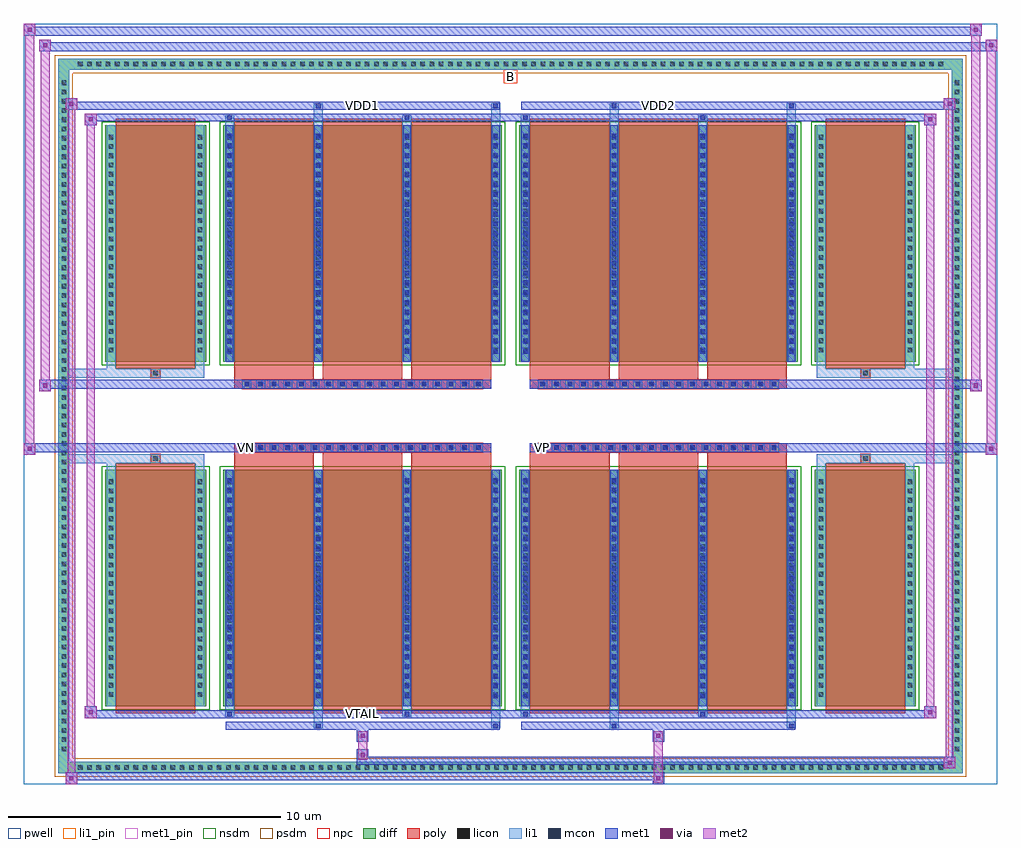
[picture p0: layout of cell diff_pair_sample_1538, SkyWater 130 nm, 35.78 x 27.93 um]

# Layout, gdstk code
import gdstk
lib = gdstk.Library(unit=1e-6, precision=5e-09)
def R(c, l, rs):  # rectangles x0, y0, x1, y1
    for r in rs: c.add(gdstk.rectangle(r[:2], r[2:], *l))
def A(c, l, x, y, w, h, nx, ny, dx, dy):  # array of equal rectangles
    R(c, l, [(x+i*dx, y+j*dy, x+i*dx+w, y+j*dy+h) for i in range(nx) for j in range(ny)])
def P(c, l, *ps):  # polygons
    for p in ps: c.add(gdstk.Polygon(p, *l))
pwell = (64, 44)
diff = (65, 20)
poly = (66, 20)
licon = (66, 44)
li1_pin = (67, 16)
li1 = (67, 20)
mcon = (67, 44)
met1_pin = (68, 16)
met1 = (68, 20)
via = (68, 44)
met2 = (69, 20)
nsdm = (93, 44)
psdm = (94, 20)
npc = (95, 20)

diff_pair_sample_1538 = lib.new_cell('diff_pair_sample_1538')
R(diff_pair_sample_1538, pwell, [(-17.89,-13.53,17.89,14.4), (-15.21,-11.72,-0.01,-0.8), (0.01,-11.72,15.21,-0.8), (-15.21,0.8,-0.01,11.72), (0.01,0.8,15.21,11.72)])
A(diff_pair_sample_1538, diff, -16.015, -13.13, 0.41, 0.41, 94, 2, 0.34, 25.85)
A(diff_pair_sample_1538, diff, -16.62, -12.445, 0.41, 0.41, 1, 73, 0, 0.34)
A(diff_pair_sample_1538, diff, 16.21, -12.445, 0.41, 0.41, 1, 73, 0, 0.34)
R(diff_pair_sample_1538, diff, [(-16.015,-13.13,16.015,-12.72), (-16.62,-12.445,-16.21,12.445), (16.21,-12.445,16.62,12.445), (-14.9,-10.675,-11.19,-1.985), (-10.55,-10.675,-0.32,-1.985), (0.32,-10.675,10.55,-1.985), (11.19,-10.675,14.9,-1.985), (-14.9,1.985,-11.19,10.675), (-10.55,1.985,-0.32,10.675), (0.32,1.985,10.55,10.675), (11.19,1.985,14.9,10.675), (-16.015,12.72,16.015,13.13)])
P(diff_pair_sample_1538, diff, [(16.62,13.13),(-16.62,13.13),(-16.62,-12.72),(-16.21,-12.72),(-16.21,12.72),(16.21,12.72),(16.21,-12.72),(-16.21,-12.72),(-16.62,-12.72),(-16.62,-13.13),(16.62,-13.13)])
A(diff_pair_sample_1538, poly, -10.16, -10.925, 2.93, 9.19, 3, 2, 3.26, 12.66)
A(diff_pair_sample_1538, poly, 0.71, -10.925, 2.93, 9.19, 3, 2, 3.26, 12.66)
A(diff_pair_sample_1538, poly, -10.16, -1.735, 2.93, 0.405, 3, 2, 3.26, 3.065)
A(diff_pair_sample_1538, poly, 0.71, -1.735, 2.93, 0.405, 3, 2, 3.26, 3.065)
A(diff_pair_sample_1538, poly, -9.85, -1.33, 0.33, 0.33, 18, 2, 0.5, 2.33)
A(diff_pair_sample_1538, poly, 1.02, -1.33, 0.33, 0.33, 18, 2, 0.5, 2.33)
R(diff_pair_sample_1538, poly, [(-14.51,-10.925,-11.58,-1.735), (11.58,-10.925,14.51,-1.735), (-13.21,-1.735,-12.88,-1.405), (-13.21,-1.735,-12.88,-1.405), (12.88,-1.735,13.21,-1.405), (12.88,-1.735,13.21,-1.405), (-10.16,-1.33,-0.71,-1), (0.71,-1.33,10.16,-1), (-10.16,1,-0.71,1.33), (0.71,1,10.16,1.33), (-13.21,1.405,-12.88,1.735), (-13.21,1.405,-12.88,1.735), (12.88,1.405,13.21,1.735), (12.88,1.405,13.21,1.735), (-14.51,1.735,-11.58,10.925), (11.58,1.735,14.51,10.925)])
A(diff_pair_sample_1538, licon, -15.895, -13.01, 0.17, 0.17, 94, 2, 0.34, 25.85)
A(diff_pair_sample_1538, licon, -16.5, -12.325, 0.17, 0.17, 1, 73, 0, 0.34)
A(diff_pair_sample_1538, licon, 16.33, -12.325, 0.17, 0.17, 1, 73, 0, 0.34)
A(diff_pair_sample_1538, licon, -14.76, -10.325, 0.17, 0.17, 1, 24, 0, 0.34)
A(diff_pair_sample_1538, licon, -11.5, -10.325, 0.17, 0.17, 1, 24, 0, 0.34)
A(diff_pair_sample_1538, licon, -10.41, -10.325, 0.17, 0.17, 4, 24, 3.26, 0.34)
A(diff_pair_sample_1538, licon, 0.46, -10.325, 0.17, 0.17, 4, 24, 3.26, 0.34)
A(diff_pair_sample_1538, licon, 11.33, -10.325, 0.17, 0.17, 1, 24, 0, 0.34)
A(diff_pair_sample_1538, licon, 14.59, -10.325, 0.17, 0.17, 1, 24, 0, 0.34)
A(diff_pair_sample_1538, licon, -9.77, -1.25, 0.17, 0.17, 18, 2, 0.5, 2.33)
A(diff_pair_sample_1538, licon, 1.1, -1.25, 0.17, 0.17, 18, 2, 0.5, 2.33)
A(diff_pair_sample_1538, licon, -14.76, 2.335, 0.17, 0.17, 1, 24, 0, 0.34)
A(diff_pair_sample_1538, licon, -11.5, 2.335, 0.17, 0.17, 1, 24, 0, 0.34)
A(diff_pair_sample_1538, licon, -10.41, 2.335, 0.17, 0.17, 4, 24, 3.26, 0.34)
A(diff_pair_sample_1538, licon, 0.46, 2.335, 0.17, 0.17, 4, 24, 3.26, 0.34)
A(diff_pair_sample_1538, licon, 11.33, 2.335, 0.17, 0.17, 1, 24, 0, 0.34)
A(diff_pair_sample_1538, licon, 14.59, 2.335, 0.17, 0.17, 1, 24, 0, 0.34)
R(diff_pair_sample_1538, licon, [(-13.13,-1.655,-12.96,-1.485), (12.96,-1.655,13.13,-1.485), (-13.13,1.485,-12.96,1.655), (12.96,1.485,13.13,1.655)])
R(diff_pair_sample_1538, li1_pin, [(-0.25,12.22,0.25,12.72)])
A(diff_pair_sample_1538, li1, -15.975, -13.09, 0.33, 0.33, 94, 2, 0.34, 25.85)
A(diff_pair_sample_1538, li1, -16.58, -12.405, 0.33, 0.33, 1, 73, 0, 0.34)
A(diff_pair_sample_1538, li1, 16.25, -12.405, 0.33, 0.33, 1, 73, 0, 0.34)
A(diff_pair_sample_1538, li1, -10.49, -10.675, 0.33, 8.69, 4, 2, 3.26, 12.66)
A(diff_pair_sample_1538, li1, 0.38, -10.675, 0.33, 8.69, 4, 2, 3.26, 12.66)
A(diff_pair_sample_1538, li1, -14.84, -10.405, 0.33, 0.33, 1, 24, 0, 0.34)
A(diff_pair_sample_1538, li1, -11.58, -10.405, 0.33, 0.33, 1, 24, 0, 0.34)
A(diff_pair_sample_1538, li1, -10.49, -10.405, 0.33, 0.33, 4, 24, 3.26, 0.34)
A(diff_pair_sample_1538, li1, 0.38, -10.405, 0.33, 0.33, 4, 24, 3.26, 0.34)
A(diff_pair_sample_1538, li1, 11.25, -10.405, 0.33, 0.33, 1, 24, 0, 0.34)
A(diff_pair_sample_1538, li1, 14.51, -10.405, 0.33, 0.33, 1, 24, 0, 0.34)
A(diff_pair_sample_1538, li1, -10.41, -10.375, 0.17, 0.17, 4, 23, 3.26, 0.36)
A(diff_pair_sample_1538, li1, -10.41, -10.375, 0.17, 8.09, 4, 2, 3.26, 12.66)
A(diff_pair_sample_1538, li1, 0.46, -10.375, 0.17, 0.17, 4, 23, 3.26, 0.36)
A(diff_pair_sample_1538, li1, 0.46, -10.375, 0.17, 8.09, 4, 2, 3.26, 12.66)
A(diff_pair_sample_1538, li1, -9.85, -1.33, 0.33, 0.33, 18, 2, 0.5, 2.33)
A(diff_pair_sample_1538, li1, 1.02, -1.33, 0.33, 0.33, 18, 2, 0.5, 2.33)
A(diff_pair_sample_1538, li1, -14.84, 2.255, 0.33, 0.33, 1, 24, 0, 0.34)
A(diff_pair_sample_1538, li1, -11.58, 2.255, 0.33, 0.33, 1, 24, 0, 0.34)
A(diff_pair_sample_1538, li1, -10.49, 2.255, 0.33, 0.33, 4, 24, 3.26, 0.34)
A(diff_pair_sample_1538, li1, 0.38, 2.255, 0.33, 0.33, 4, 24, 3.26, 0.34)
A(diff_pair_sample_1538, li1, 11.25, 2.255, 0.33, 0.33, 1, 24, 0, 0.34)
A(diff_pair_sample_1538, li1, 14.51, 2.255, 0.33, 0.33, 1, 24, 0, 0.34)
A(diff_pair_sample_1538, li1, -10.41, 2.285, 0.17, 0.17, 4, 23, 3.26, 0.36)
A(diff_pair_sample_1538, li1, 0.46, 2.285, 0.17, 0.17, 4, 23, 3.26, 0.36)
R(diff_pair_sample_1538, li1, [(-16.62,-13.13,-16.21,-12.72), (-16.62,-13.13,-16.21,-12.72), (-16.21,-13.13,16.21,-12.72), (16.21,-13.13,16.62,-12.72), (16.21,-13.13,16.62,-12.72), (-16.62,-12.72,-16.21,12.72), (16.21,-12.72,16.62,12.72), (-7.23,-11.48,-6.9,-10.675), (-7.15,-11.48,-6.98,-11.31), (-0.71,-11.48,-0.38,-10.675), (-0.63,-11.48,-0.46,-11.31), (3.64,-11.48,3.97,-10.675), (3.72,-11.48,3.89,-11.31), (10.16,-11.48,10.49,-10.675), (10.24,-11.48,10.41,-11.31), (-10.49,-11.05,-10.16,-10.675), (-10.41,-11.05,-10.24,-10.88), (-3.97,-11.05,-3.64,-10.675), (-3.89,-11.05,-3.72,-10.88), (0.38,-11.05,0.71,-10.675), (0.46,-11.05,0.63,-10.88), (6.9,-11.05,7.23,-10.675), (6.98,-11.05,7.15,-10.88), (-14.84,-10.675,-14.51,-1.985), (-11.58,-10.675,-11.25,-1.985), (11.25,-10.675,11.58,-1.985), (14.51,-10.675,14.84,-1.985), (-14.84,-1.985,-14.51,-1.405), (-11.58,-1.985,-11.25,-1.405), (11.25,-1.985,11.58,-1.405), (14.51,-1.985,14.84,-1.405), (-16.62,-1.735,-13.21,-1.405), (-14.84,-1.735,-13.21,-1.405), (-13.21,-1.735,-12.88,-1.405), (-12.88,-1.735,-11.25,-1.405), (11.25,-1.735,12.88,-1.405), (12.88,-1.735,13.21,-1.405), (12.88,-1.735,16.62,-1.405), (13.21,-1.735,14.84,-1.405), (-16.62,1.405,-13.21,1.735), (-14.84,1.405,-13.21,1.735), (-14.84,1.405,-14.51,1.985), (-13.21,1.405,-12.88,1.735), (-12.88,1.405,-11.25,1.735), (-11.58,1.405,-11.25,1.985), (11.25,1.405,12.88,1.735), (11.25,1.405,11.58,1.985), (12.88,1.405,13.21,1.735), (12.88,1.405,16.62,1.735), (13.21,1.405,14.84,1.735), (14.51,1.405,14.84,1.985), (-14.84,1.985,-14.51,10.675), (-11.58,1.985,-11.25,10.675), (11.25,1.985,11.58,10.675), (14.51,1.985,14.84,10.675), (-10.49,10.675,-10.16,11.05), (-7.23,10.675,-6.9,11.48), (-3.97,10.675,-3.64,11.05), (-0.71,10.675,-0.38,11.48), (0.38,10.675,0.71,11.05), (3.64,10.675,3.97,11.48), (6.9,10.675,7.23,11.05), (10.16,10.675,10.49,11.48), (-10.41,10.88,-10.24,11.05), (-3.89,10.88,-3.72,11.05), (0.46,10.88,0.63,11.05), (6.98,10.88,7.15,11.05), (-7.15,11.31,-6.98,11.48), (-0.63,11.31,-0.46,11.48), (3.72,11.31,3.89,11.48), (10.24,11.31,10.41,11.48), (-16.62,12.72,-16.21,13.13), (-16.62,12.72,-16.21,13.13), (-16.21,12.72,16.21,13.13), (16.21,12.72,16.62,13.13), (16.21,12.72,16.62,13.13)])
A(diff_pair_sample_1538, mcon, -10.41, -10.375, 0.17, 0.17, 4, 23, 3.26, 0.36)
A(diff_pair_sample_1538, mcon, 0.46, -10.375, 0.17, 0.17, 4, 23, 3.26, 0.36)
A(diff_pair_sample_1538, mcon, -9.77, -1.25, 0.17, 0.17, 18, 2, 0.5, 2.33)
A(diff_pair_sample_1538, mcon, 1.1, -1.25, 0.17, 0.17, 18, 2, 0.5, 2.33)
A(diff_pair_sample_1538, mcon, -10.41, 2.285, 0.17, 0.17, 4, 23, 3.26, 0.36)
A(diff_pair_sample_1538, mcon, 0.46, 2.285, 0.17, 0.17, 4, 23, 3.26, 0.36)
R(diff_pair_sample_1538, mcon, [(-7.15,-11.48,-6.98,-11.31), (-0.63,-11.48,-0.46,-11.31), (3.72,-11.48,3.89,-11.31), (10.24,-11.48,10.41,-11.31), (-10.41,-11.05,-10.24,-10.88), (-3.89,-11.05,-3.72,-10.88), (0.46,-11.05,0.63,-10.88), (6.98,-11.05,7.15,-10.88), (-10.41,10.88,-10.24,11.05), (-3.89,10.88,-3.72,11.05), (0.46,10.88,0.63,11.05), (6.98,10.88,7.15,11.05), (-7.15,11.31,-6.98,11.48), (-0.63,11.31,-0.46,11.48), (3.72,11.31,3.89,11.48), (10.24,11.31,10.41,11.48)])
R(diff_pair_sample_1538, met1_pin, [(-5.57,-11.09,-5.3,-10.82), (-9.82,-1.29,-9.55,-1.02), (1.05,-1.29,1.32,-1.02), (-5.57,11.27,-5.3,11.54), (5.3,11.27,5.57,11.54)])
A(diff_pair_sample_1538, met1, -10.47, -10.675, 0.29, 8.69, 4, 2, 3.26, 12.66)
A(diff_pair_sample_1538, met1, 0.4, -10.675, 0.29, 8.69, 4, 2, 3.26, 12.66)
A(diff_pair_sample_1538, met1, -10.47, -10.435, 0.29, 0.29, 4, 23, 3.26, 0.36)
A(diff_pair_sample_1538, met1, 0.4, -10.435, 0.29, 0.29, 4, 23, 3.26, 0.36)
A(diff_pair_sample_1538, met1, -9.83, -1.31, 0.29, 0.29, 18, 2, 0.5, 2.33)
A(diff_pair_sample_1538, met1, 1.04, -1.31, 0.29, 0.29, 18, 2, 0.5, 2.33)
A(diff_pair_sample_1538, met1, -10.47, 2.225, 0.29, 0.29, 4, 23, 3.26, 0.36)
A(diff_pair_sample_1538, met1, 0.4, 2.225, 0.29, 0.29, 4, 23, 3.26, 0.36)
R(diff_pair_sample_1538, met1, [(-16.35,-13.53,-15.92,-13.1), (5.22,-13.53,5.65,-13.1), (-16.35,-13.39,5.65,-13.1), (15.92,-12.96,16.35,-12.53), (-5.65,-12.82,16.35,-12.53), (-5.65,-12.68,-5.22,-12.25), (-5.65,-11.97,-5.22,-11.54), (5.22,-11.97,5.65,-11.54), (-10.47,-11.54,-0.4,-11.25), (-7.21,-11.54,-6.92,-11.25), (-0.69,-11.54,-0.4,-11.25), (0.4,-11.54,10.47,-11.25), (3.66,-11.54,3.95,-11.25), (10.18,-11.54,10.47,-11.25), (-15.64,-11.11,-15.21,-10.68), (-15.64,-11.11,-10.47,-10.82), (-10.47,-11.11,-10.18,-10.82), (-10.47,-11.11,-0.4,-10.82), (-3.95,-11.11,-3.66,-10.82), (-0.4,-11.11,0.4,-10.82), (0.4,-11.11,0.69,-10.82), (0.4,-11.11,10.47,-10.82), (6.92,-11.11,7.21,-10.82), (10.47,-11.11,15.64,-10.82), (15.21,-11.11,15.64,-10.68), (-17.89,-1.43,-17.46,-1), (17.46,-1.43,17.89,-1), (-17.89,-1.33,-0.71,-1), (-10.16,-1.33,-0.71,-1), (0.71,-1.33,10.16,-1), (0.71,-1.33,17.89,-1), (-17.32,0.9,-16.89,1.33), (16.89,0.9,17.32,1.33), (-17.32,1,-10.16,1.33), (-10.16,1,-0.71,1.33), (0.71,1,10.16,1.33), (10.16,1,17.32,1.33), (-15.64,10.68,-15.21,11.11), (15.21,10.68,15.64,11.11), (-15.64,10.82,-10.47,11.11), (-10.47,10.82,-10.18,11.11), (-10.47,10.82,-0.4,11.11), (-3.95,10.82,-3.66,11.11), (-0.4,10.82,0.4,11.11), (0.4,10.82,0.69,11.11), (0.4,10.82,10.47,11.11), (6.92,10.82,7.21,11.11), (10.47,10.82,15.64,11.11), (-16.35,11.25,-15.92,11.68), (-16.35,11.25,-10.47,11.54), (-10.47,11.25,-0.4,11.54), (-7.21,11.25,-6.92,11.54), (-0.69,11.25,-0.4,11.54), (0.4,11.25,10.47,11.54), (3.66,11.25,3.95,11.54), (10.18,11.25,10.47,11.54), (10.47,11.25,16.35,11.54), (15.92,11.25,16.35,11.68), (-17.32,13.4,-16.89,13.83), (-17.32,13.4,-15.21,13.73), (-15.21,13.4,15.21,13.73), (15.21,13.4,17.89,13.73), (17.46,13.4,17.89,13.83), (-17.89,13.97,-17.46,14.4), (-17.89,13.97,-15.21,14.3), (-15.21,13.97,15.21,14.3), (15.21,13.97,17.32,14.3), (16.89,13.97,17.32,14.4)])
R(diff_pair_sample_1538, via, [(-16.21,-13.39,-16.06,-13.24), (5.36,-13.39,5.51,-13.24), (16.06,-12.82,16.21,-12.67), (-5.51,-12.54,-5.36,-12.39), (-5.51,-11.83,-5.36,-11.68), (5.36,-11.83,5.51,-11.68), (-15.5,-10.97,-15.35,-10.82), (15.35,-10.97,15.5,-10.82), (-17.75,-1.29,-17.6,-1.14), (17.6,-1.29,17.75,-1.14), (-17.18,1.04,-17.03,1.19), (17.03,1.04,17.18,1.19), (-15.5,10.82,-15.35,10.97), (15.35,10.82,15.5,10.97), (-16.21,11.39,-16.06,11.54), (16.06,11.39,16.21,11.54), (-17.18,13.54,-17.03,13.69), (17.6,13.54,17.75,13.69), (-17.75,14.11,-17.6,14.26), (17.03,14.11,17.18,14.26)])
R(diff_pair_sample_1538, met2, [(-16.35,-13.53,-15.92,-13.1), (-16.28,-13.53,-15.99,11.68), (-15.99,-13.53,-15.92,-13.1), (-16.3,-13.48,-15.97,-13.15), (5.27,-13.48,5.6,-13.15), (5.27,-13.15,5.6,-11.92), (15.92,-12.96,16.35,-12.53), (15.99,-12.96,16.28,11.68), (16.28,-12.96,16.35,-12.53), (15.97,-12.91,16.3,-12.58), (-5.6,-12.63,-5.27,-12.3), (-5.6,-12.3,-5.27,-11.92), (-5.6,-11.92,-5.27,-11.59), (5.27,-11.92,5.6,-11.59), (-15.64,-11.11,-15.21,-10.68), (-15.57,-11.11,-15.28,11.11), (-15.28,-11.11,-15.21,-10.68), (15.21,-11.11,15.64,-10.68), (15.28,-11.11,15.57,11.11), (15.57,-11.11,15.64,-10.68), (-15.59,-11.06,-15.26,-10.73), (15.26,-11.06,15.59,-10.73), (-17.89,-1.43,-17.46,-1), (-17.84,-1.43,-17.51,14.4), (-17.51,-1.43,-17.46,-1), (17.46,-1.43,17.89,-1), (17.51,-1.43,17.84,13.83), (17.84,-1.43,17.89,-1), (-17.84,-1.38,-17.51,-1.05), (17.51,-1.38,17.84,-1.05), (-17.32,0.9,-16.89,1.33), (-17.27,0.9,-16.94,13.83), (-16.94,0.9,-16.89,1.33), (16.89,0.9,17.32,1.33), (16.94,0.9,17.27,14.4), (17.27,0.9,17.32,1.33), (-17.27,0.95,-16.94,1.28), (16.94,0.95,17.27,1.28), (-15.64,10.68,-15.21,11.11), (-15.28,10.68,-15.21,11.11), (15.21,10.68,15.64,11.11), (15.57,10.68,15.64,11.11), (-15.59,10.73,-15.26,11.06), (15.26,10.73,15.59,11.06), (-16.35,11.25,-15.92,11.68), (-15.99,11.25,-15.92,11.68), (15.92,11.25,16.35,11.68), (16.28,11.25,16.35,11.68), (-16.3,11.3,-15.97,11.63), (15.97,11.3,16.3,11.63), (-17.32,13.4,-16.89,13.83), (-16.94,13.4,-16.89,13.83), (17.46,13.4,17.89,13.83), (17.84,13.4,17.89,13.83), (-17.27,13.45,-16.94,13.78), (17.51,13.45,17.84,13.78), (-17.89,13.97,-17.46,14.4), (-17.51,13.97,-17.46,14.4), (16.89,13.97,17.32,14.4), (17.27,13.97,17.32,14.4), (-17.84,14.02,-17.51,14.35), (16.94,14.02,17.27,14.35)])
R(diff_pair_sample_1538, nsdm, [(-15.03,-10.805,-11.06,-1.855), (-10.68,-10.805,-0.19,-1.855), (0.19,-10.805,10.68,-1.855), (11.06,-10.805,15.03,-1.855), (-15.03,1.855,-11.06,10.805), (-10.68,1.855,-0.19,10.805), (0.19,1.855,10.68,10.805), (11.06,1.855,15.03,10.805)])
P(diff_pair_sample_1538, psdm, [(16.75,13.26),(-16.75,13.26),(-16.75,-12.59),(-16.08,-12.59),(-16.08,12.59),(16.08,12.59),(16.08,-12.59),(-16.08,-12.59),(-16.75,-12.59),(-16.75,-13.26),(16.75,-13.26)])
A(diff_pair_sample_1538, npc, -9.87, -1.35, 0.37, 0.37, 18, 2, 0.5, 2.33)
A(diff_pair_sample_1538, npc, 1, -1.35, 0.37, 0.37, 18, 2, 0.5, 2.33)
R(diff_pair_sample_1538, npc, [(-13.23,-1.755,-12.86,-1.385), (12.86,-1.755,13.23,-1.385), (-9.87,-1.35,-9,-0.98), (-9.87,-1.35,-9,-0.98), (-9.37,-1.35,-8.5,-0.98), (-9.37,-1.35,-8.5,-0.98), (-8.87,-1.35,-8,-0.98), (-8.87,-1.35,-8,-0.98), (-8.37,-1.35,-7.5,-0.98), (-8.37,-1.35,-7.5,-0.98), (-7.87,-1.35,-7,-0.98), (-7.87,-1.35,-7,-0.98), (-7.37,-1.35,-6.5,-0.98), (-7.37,-1.35,-6.5,-0.98), (-6.87,-1.35,-6,-0.98), (-6.87,-1.35,-6,-0.98), (-6.37,-1.35,-5.5,-0.98), (-6.37,-1.35,-5.5,-0.98), (-5.87,-1.35,-5,-0.98), (-5.87,-1.35,-5,-0.98), (-5.37,-1.35,-4.5,-0.98), (-5.37,-1.35,-4.5,-0.98), (-4.87,-1.35,-4,-0.98), (-4.87,-1.35,-4,-0.98), (-4.37,-1.35,-3.5,-0.98), (-4.37,-1.35,-3.5,-0.98), (-3.87,-1.35,-3,-0.98), (-3.87,-1.35,-3,-0.98), (-3.37,-1.35,-2.5,-0.98), (-3.37,-1.35,-2.5,-0.98), (-2.87,-1.35,-2,-0.98), (-2.87,-1.35,-2,-0.98), (-2.37,-1.35,-1.5,-0.98), (-2.37,-1.35,-1.5,-0.98), (-1.87,-1.35,-1,-0.98), (-1.87,-1.35,-1,-0.98), (1,-1.35,1.87,-0.98), (1,-1.35,1.87,-0.98), (1.5,-1.35,2.37,-0.98), (1.5,-1.35,2.37,-0.98), (2,-1.35,2.87,-0.98), (2,-1.35,2.87,-0.98), (2.5,-1.35,3.37,-0.98), (2.5,-1.35,3.37,-0.98), (3,-1.35,3.87,-0.98), (3,-1.35,3.87,-0.98), (3.5,-1.35,4.37,-0.98), (3.5,-1.35,4.37,-0.98), (4,-1.35,4.87,-0.98), (4,-1.35,4.87,-0.98), (4.5,-1.35,5.37,-0.98), (4.5,-1.35,5.37,-0.98), (5,-1.35,5.87,-0.98), (5,-1.35,5.87,-0.98), (5.5,-1.35,6.37,-0.98), (5.5,-1.35,6.37,-0.98), (6,-1.35,6.87,-0.98), (6,-1.35,6.87,-0.98), (6.5,-1.35,7.37,-0.98), (6.5,-1.35,7.37,-0.98), (7,-1.35,7.87,-0.98), (7,-1.35,7.87,-0.98), (7.5,-1.35,8.37,-0.98), (7.5,-1.35,8.37,-0.98), (8,-1.35,8.87,-0.98), (8,-1.35,8.87,-0.98), (8.5,-1.35,9.37,-0.98), (8.5,-1.35,9.37,-0.98), (9,-1.35,9.87,-0.98), (9,-1.35,9.87,-0.98), (-9.87,0.98,-9,1.35), (-9.87,0.98,-9,1.35), (-9.37,0.98,-8.5,1.35), (-9.37,0.98,-8.5,1.35), (-8.87,0.98,-8,1.35), (-8.87,0.98,-8,1.35), (-8.37,0.98,-7.5,1.35), (-8.37,0.98,-7.5,1.35), (-7.87,0.98,-7,1.35), (-7.87,0.98,-7,1.35), (-7.37,0.98,-6.5,1.35), (-7.37,0.98,-6.5,1.35), (-6.87,0.98,-6,1.35), (-6.87,0.98,-6,1.35), (-6.37,0.98,-5.5,1.35), (-6.37,0.98,-5.5,1.35), (-5.87,0.98,-5,1.35), (-5.87,0.98,-5,1.35), (-5.37,0.98,-4.5,1.35), (-5.37,0.98,-4.5,1.35), (-4.87,0.98,-4,1.35), (-4.87,0.98,-4,1.35), (-4.37,0.98,-3.5,1.35), (-4.37,0.98,-3.5,1.35), (-3.87,0.98,-3,1.35), (-3.87,0.98,-3,1.35), (-3.37,0.98,-2.5,1.35), (-3.37,0.98,-2.5,1.35), (-2.87,0.98,-2,1.35), (-2.87,0.98,-2,1.35), (-2.37,0.98,-1.5,1.35), (-2.37,0.98,-1.5,1.35), (-1.87,0.98,-1,1.35), (-1.87,0.98,-1,1.35), (1,0.98,1.87,1.35), (1,0.98,1.87,1.35), (1.5,0.98,2.37,1.35), (1.5,0.98,2.37,1.35), (2,0.98,2.87,1.35), (2,0.98,2.87,1.35), (2.5,0.98,3.37,1.35), (2.5,0.98,3.37,1.35), (3,0.98,3.87,1.35), (3,0.98,3.87,1.35), (3.5,0.98,4.37,1.35), (3.5,0.98,4.37,1.35), (4,0.98,4.87,1.35), (4,0.98,4.87,1.35), (4.5,0.98,5.37,1.35), (4.5,0.98,5.37,1.35), (5,0.98,5.87,1.35), (5,0.98,5.87,1.35), (5.5,0.98,6.37,1.35), (5.5,0.98,6.37,1.35), (6,0.98,6.87,1.35), (6,0.98,6.87,1.35), (6.5,0.98,7.37,1.35), (6.5,0.98,7.37,1.35), (7,0.98,7.87,1.35), (7,0.98,7.87,1.35), (7.5,0.98,8.37,1.35), (7.5,0.98,8.37,1.35), (8,0.98,8.87,1.35), (8,0.98,8.87,1.35), (8.5,0.98,9.37,1.35), (8.5,0.98,9.37,1.35), (9,0.98,9.87,1.35), (9,0.98,9.87,1.35), (-13.23,1.385,-12.86,1.755), (12.86,1.385,13.23,1.755)])
diff_pair_sample_1538.add(gdstk.Label('VTAIL', (-5.435,-10.955), layer=68, texttype=5))
diff_pair_sample_1538.add(gdstk.Label('VN', (-9.685,-1.155), layer=68, texttype=5))
diff_pair_sample_1538.add(gdstk.Label('VP', (1.185,-1.155), layer=68, texttype=5))
diff_pair_sample_1538.add(gdstk.Label('B', (0,12.47), layer=67, texttype=5))
diff_pair_sample_1538.add(gdstk.Label('VDD2', (5.435,11.405), layer=68, texttype=5))
diff_pair_sample_1538.add(gdstk.Label('VDD1', (-5.435,11.405), layer=68, texttype=5))

lib.write_gds('diff_pair_sample_1538.gds')
